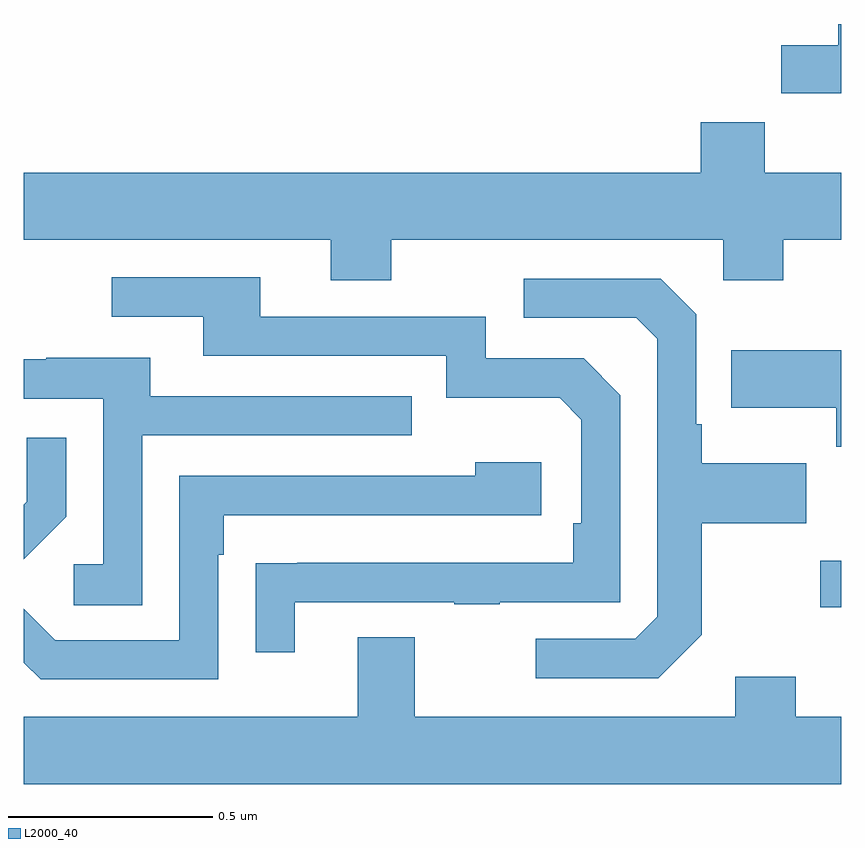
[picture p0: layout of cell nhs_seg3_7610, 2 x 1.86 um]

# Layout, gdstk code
import gdstk
lib = gdstk.Library(unit=1e-6, precision=1e-09)
def R(c, l, rs):  # rectangles x0, y0, x1, y1
    for r in rs: c.add(gdstk.rectangle(r[:2], r[2:], *l))
def P(c, l, *ps):  # polygons
    for p in ps: c.add(gdstk.Polygon(p, *l))
L2000_40 = (2000, 40)

nhs_seg3_7610 = lib.new_cell('nhs_seg3_7610')
R(nhs_seg3_7610, L2000_40, [(206.949,743.973,207,744.086)])
P(nhs_seg3_7610, L2000_40, [(207,745.4),(206.993,745.4),(206.993,745.348),(206.854,745.348),(206.854,745.23),(207,745.23)],
  [(205.899,744.872),(206.712,744.872),(206.712,744.773),(206.859,744.773),(206.859,744.872),(207,744.872),(207,745.036),(206.813,745.036),(206.813,745.16),(206.657,745.16),(206.657,745.036),(205,745.036),(205,744.872),(205.751,744.872),(205.751,744.773),(205.899,744.773)],
  [(205.663,743.985),(206.053,743.985),(206.053,743.98),(206.165,743.98),(206.165,743.985),(206.46,743.985),(206.46,744.492),(206.37,744.582),(206.13,744.582),(206.13,744.684),(205.579,744.684),(205.579,744.78),(205.215,744.78),(205.215,744.684),(205.439,744.684),(205.439,744.588),(206.034,744.588),(206.034,744.485),(206.311,744.485),(206.364,744.432),(206.364,744.178),(206.344,744.178),(206.344,744.081),(205.669,744.081),(205.669,744.08),(205.567,744.08),(205.567,743.862),(205.663,743.862)],
  [(206.659,743.905),(206.659,744.178),(206.915,744.178),(206.915,744.325),(206.659,744.325),(206.659,744.421),(206.646,744.421),(206.646,744.69),(206.559,744.777),(206.223,744.777),(206.223,744.681),(206.499,744.681),(206.55,744.63),(206.55,743.949),(206.496,743.895),(206.253,743.895),(206.253,743.799),(206.553,743.799)],
  [(207,744.601),(206.731,744.601),(206.731,744.461),(206.988,744.461),(206.988,744.365),(207,744.365)],
  [(205.29,744.393),(205.949,744.393),(205.949,744.489),(205.309,744.489),(205.309,744.583),(205.055,744.583),(205.055,744.579),(205,744.579),(205,744.483),(205.194,744.483),(205.194,744.078),(205.122,744.078),(205.122,743.977),(205.29,743.977)],
  [(205.104,744.194),(205.104,744.388),(205.007,744.388),(205.007,744.231),(205,744.224),(205,744.09)],
  [(205.476,744.101),(205.489,744.101),(205.489,744.198),(206.266,744.198),(206.266,744.328),(206.105,744.328),(206.105,744.294),(205.38,744.294),(205.38,743.892),(205.077,743.892),(205,743.969),(205,743.837),(205.041,743.796),(205.476,743.796)],
  [(207,743.704),(206.889,743.704),(206.889,743.803),(206.741,743.803),(206.741,743.704),(205.957,743.704),(205.957,743.899),(205.817,743.899),(205.817,743.704),(205,743.704),(205,743.54),(207,743.54)])

lib.write_gds('nhs_seg3_7610.gds')
